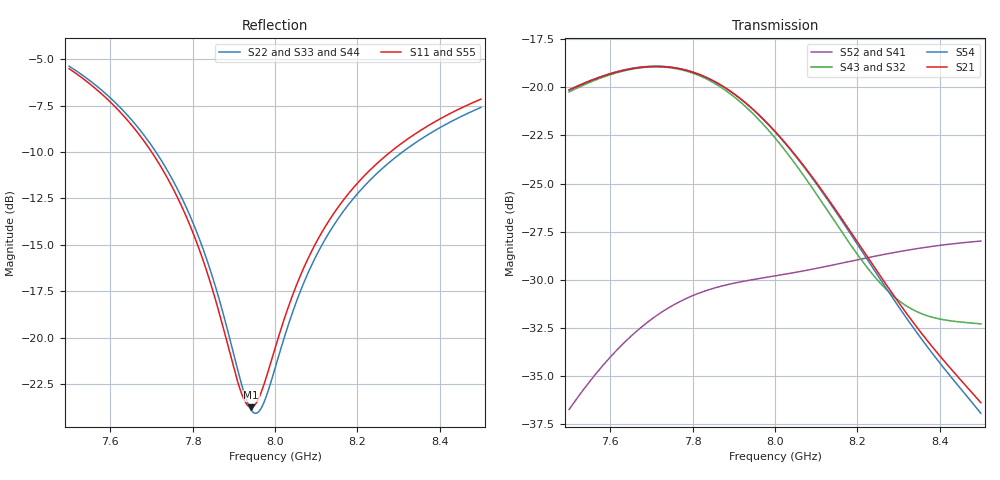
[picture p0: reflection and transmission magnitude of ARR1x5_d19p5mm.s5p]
! Touchstone file exported from HFSS 2025.1.0
!  File:  C:/Users/user/Documents/Ansoft/TFG_UWB-MIMO-Array.aedt
!  Generated:  06:37:37 PM Nov 20, 2026
!  Design:  ARR1x5_P01_MS2_dparam
!  Project:  TFG_UWB-MIMO-Array
!  Setup:  Setup_ch9
!  Solution:  Sweep_7p5_8p5
! Variables:
!  arr_d = 19.5mm
!  board_m = 13mm
!  board_x = 104mm
!  board_y = 26mm
!  cu_t = 0.035mm
!  line_w = 3.92mm
!  pad_xy = 22mm
!  pad_zn = 25mm
!  pad_zp = 33mm
!  patch_L = 7.322mm
!  patch_W = 11.421266mm
!  sub_h = 2.07mm
!  tr_l = 7.1mm
!  tr_w = 0.8mm
# GHz S MA R 50.000000
! Terminal data exported
! Port[1] = P1
! Port[2] = P2
! Port[3] = P3
! Port[4] = P4
! Port[5] = P5
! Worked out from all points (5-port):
!   1001 points, 7.5 GHz to 8.5 GHz, reference 50 ohm
!   strongest paths, dB at 7.5 GHz, 7.75 GHz, 8 GHz, 8.25 GHz, 8.5 GHz:
!     S21: -20.1, -19.0, -22.3, -29.6, -36.4
!     S54: -20.1, -19.0, -22.3, -29.8, -36.9
!     S43: -20.2, -19.0, -22.6, -30.0, -32.3
!     S32: -20.3, -19.0, -22.6, -30.1, -32.5
!     S52: -36.7, -31.4, -29.8, -28.7, -28.0
!     S41: -36.8, -31.4, -29.8, -28.7, -28.0
!   lowest |S11| = -23.8 dB at 7.942 GHz (marker M1), VSWR 1.14, Z = 56.6 + j2 ohm
!   |S11| at or under -10 dB: 7.7 GHz to 8.28 GHz (579.8 MHz wide, 7.26 % of centre)
